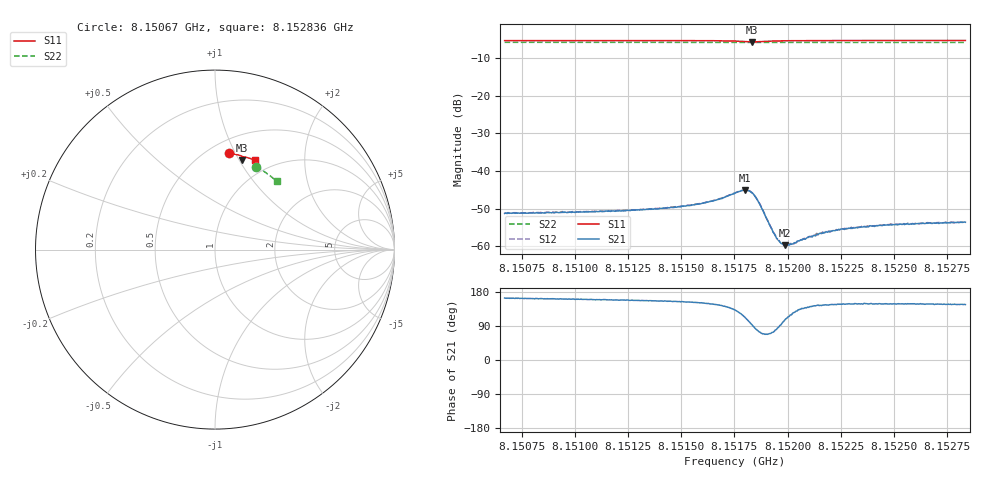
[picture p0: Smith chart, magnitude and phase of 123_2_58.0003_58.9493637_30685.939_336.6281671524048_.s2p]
#  HZ  S  RI  R  50.00
! Rohde & Schwarz Vector Network Analyzer
! Rohde-Schwarz,ZNB20-2Port,1311601062101988,3.16
! Created: UTC 3/21/2024, 12:55:48 AM
! freq[Hz]  re:S11  im:S11  re:S21  im:S21  re:S12  im:S12  re:S22  im:S22
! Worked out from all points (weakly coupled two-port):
!   401 points, 8.15067 GHz to 8.152836 GHz, reference 50 ohm
!   highest |S21| = -45.07 dB at 8.151802 GHz (marker M1); lowest = -59.8 dB at 8.151986 GHz (marker M2)
!   lowest |S11| = -5.7 dB at 8.151834 GHz (marker M3), VSWR 3.18, Z = 37.6 + j51.5 ohm
!   |S11| at or under -10 dB: nowhere
!   |S22| runs from -5.8 to -5.8 dB; largest |S21 - S12| = 0.00014
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8.1506701e9  0.0794 0.5361  -0.00262 0.000775  -0.00264 0.000849  0.2295 0.461
8.1510329e9  0.1051 0.5322  -0.00268 0.000968  -0.00268 0.00103  0.25 0.4497
8.1513957e9  0.1313 0.5267  -0.00287 0.00132  -0.00288 0.00133  0.27 0.4375
8.1515039e9  0.1395 0.5243  -0.00307 0.00149  -0.00303 0.00157  0.2758 0.4335
8.1516014e9  0.1475 0.5213  -0.00325 0.00185  -0.00323 0.00191  0.281 0.4302
8.1516826e9  0.1548 0.5174  -0.00349 0.00248  -0.00348 0.00254  0.2853 0.427
8.151753e9  0.1604 0.5098  -0.00341 0.00378  -0.00338 0.00386  0.2891 0.4242
8.1518018e9  0.1587 0.5011  -0.00204 0.00519  -0.00201 0.00525  0.2913 0.422
8.151818e9  0.1556 0.4992  -0.00113 0.00534  -0.00106 0.00541  0.292 0.4214
8.1518342e9  0.1517 0.4991  -0.000147 0.00508  -8.13e-05 0.00513  0.2927 0.4211
8.1518505e9  0.1484 0.5013  0.000619 0.00441  0.000697 0.00445  0.2933 0.4205
8.1518667e9  0.1468 0.5045  0.00101 0.00359  0.00109 0.00363  0.294 0.42
8.1519425e9  0.1531 0.5147  0.000264 0.00136  0.000297 0.00135  0.2981 0.4175
8.1519588e9  0.1551 0.5154  6.73e-05 0.00118  3.14e-05 0.00122  0.2992 0.4168
8.151975e9  0.157 0.5159  -0.000151 0.00108  -0.000151 0.00108  0.3001 0.4163
8.1519859e9  0.1583 0.516  -0.00026 0.000993  -0.000236 0.000974  0.3006 0.4158
8.1520183e9  0.1619 0.5162  -0.000515 0.000929  -0.000584 0.000935  0.3023 0.4147
8.1521158e9  0.1707 0.5152  -0.00104 0.000823  -0.00107 0.000855  0.3073 0.4108
8.1521591e9  0.1741 0.5144  -0.00119 0.000875  -0.00121 0.000861  0.3095 0.409
8.1522512e9  0.1813 0.5126  -0.00143 0.000913  -0.00141 0.000874  0.3143 0.4054
8.1524786e9  0.1975 0.5074  -0.00164 0.00102  -0.00164 0.00102  0.3254 0.3961
8.152836e9  0.2215 0.4981  -0.00173 0.00116  -0.00171 0.00116  0.3427 0.3808
